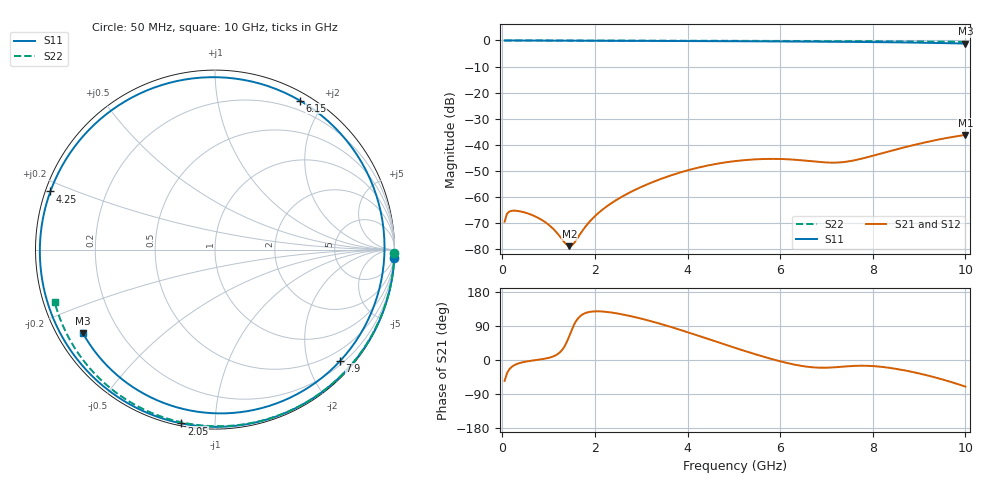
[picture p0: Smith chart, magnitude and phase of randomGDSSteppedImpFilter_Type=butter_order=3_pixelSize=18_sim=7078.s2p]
! freq	dB(S11)	phase(S11)	dB(S12)	phase(S12)
!  dB(S21)	phase(S21)	dB(S22)	phase(S22)
!S-par simulation data
#  GHz  S  DB  R 50
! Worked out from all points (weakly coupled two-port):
!   200 points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, 50 MHz to 10 GHz, reference 50 ohm
!   highest |S21| = -36.22 dB at 10 GHz (marker M1); lowest = -78.8 dB at 1.45 GHz (marker M2)
!   lowest |S11| = -1.2 dB at 10 GHz (marker M3), VSWR 14.48, Z = 3.74 - j14.4 ohm
!   |S11| at or under -10 dB: nowhere
!   |S22| runs from -0.5 to 0.0 dB; largest |S21 - S12| = 0
!   S11 on the Smith chart (normalised r, x): 50 MHz: 0, -44; 2.05 GHz: 0.01, -0.83; 4.25 GHz: 0.01, +0.17; 6.15 GHz: 0.09, +1.72; 7.9 GHz: 0.27, -2.60; 10 GHz: 0.07, -0.29
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0.05  -0.00 -2.6  -69.48 -55.1  -69.48 -55.1  -0.00 -0.9
0.1  -0.00 -5.2  -66.42 -35.2  -66.42 -35.2  -0.00 -1.9
0.2  -0.00 -10.4  -65.28 -18.4  -65.28 -18.4  -0.00 -3.8
0.6  -0.03 -30.9  -66.59 -2.4  -66.59 -2.4  -0.01 -11.2
1  -0.06 -51.0  -70.61 5.6  -70.61 5.6  -0.02 -18.7
1.45  -0.09 -72.9  -78.83 64.4  -78.83 64.4  -0.03 -26.9
1.75  -0.11 -87.1  -72.43 121.4  -72.43 121.4  -0.04 -32.3
2.05  -0.12 -100.9  -66.52 128.5  -66.52 128.5  -0.05 -37.7
2.65  -0.15 -127.9  -59.22 119.0  -59.22 119.0  -0.06 -48.4
3.4  -0.19 -161.0  -53.22 95.9  -53.22 95.9  -0.08 -61.3
3.85  -0.21 178.9  -50.54 79.3  -50.54 79.3  -0.09 -68.8
4.25  -0.24 160.6  -48.65 63.4  -48.65 63.4  -0.11 -75.4
5.05  -0.30 121.3  -46.18 31.1  -46.18 31.1  -0.14 -88.2
5.6  -0.35 91.8  -45.45 10.2  -45.45 10.2  -0.16 -96.8
6.15  -0.39 60.4  -45.52 -7.9  -45.52 -7.9  -0.19 -105.2
6.7  -0.45 27.7  -46.34 -19.2  -46.34 -19.2  -0.22 -113.4
7.3  -0.51 -7.8  -46.71 -18.1  -46.71 -18.1  -0.26 -122.3
7.9  -0.60 -41.7  -44.66 -15.4  -44.66 -15.4  -0.31 -131.0
8.35  -0.69 -65.8  -42.49 -20.5  -42.49 -20.5  -0.35 -137.6
8.75  -0.78 -86.2  -40.65 -28.9  -40.65 -28.9  -0.39 -143.4
9.15  -0.89 -106.0  -38.98 -39.8  -38.98 -39.8  -0.44 -149.2
10  -1.20 -147.8  -36.22 -70.2  -36.22 -70.2  -0.54 -161.9
